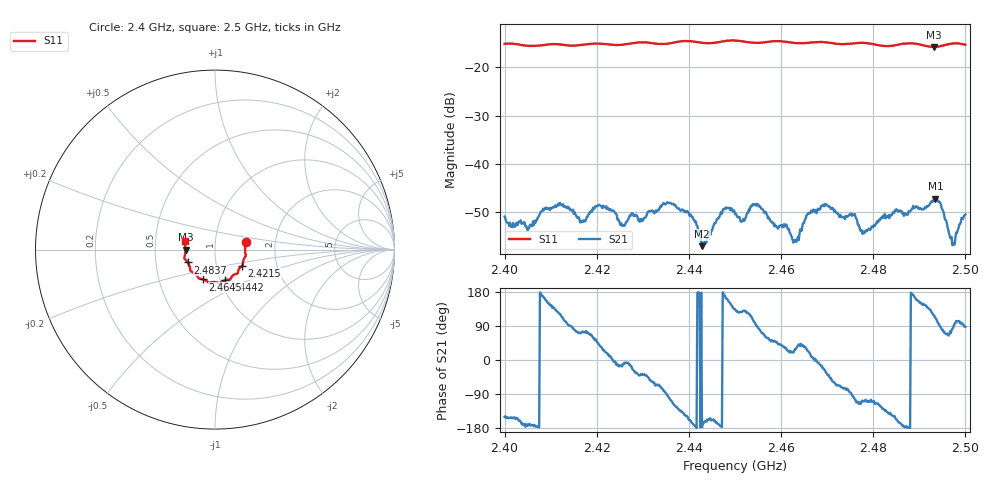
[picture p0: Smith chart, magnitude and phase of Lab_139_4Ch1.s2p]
# Hz S RI R 50
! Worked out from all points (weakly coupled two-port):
!   601 points, 2.4 GHz to 2.5 GHz, reference 50 ohm
!   highest |S21| = -47.27 dB at 2.4935 GHz (marker M1); lowest = -57.1 dB at 2.4428 GHz (marker M2)
!   lowest |S11| = -15.7 dB at 2.4932 GHz (marker M3), VSWR 1.39, Z = 36 - j0.0458 ohm
!   |S11| at or under -10 dB: start of sweep to end of sweep
!   S12 and S22 are empty: the file has one direction only
!   S11 on the Smith chart (normalised r, x): 2.4 GHz: 1.41, +0.12; 2.4215 GHz: 1.33, -0.25; 2.4442 GHz: 1.05, -0.37; 2.4645 GHz: 0.83, -0.29; 2.4837 GHz: 0.73, -0.11; 2.5 GHz: 0.71, +0.07
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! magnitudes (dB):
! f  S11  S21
! 2.4 GHz  -15.1  -51.0
! 2.4053 GHz  -15.5  -53.4
! 2.4122 GHz  -15.2  -48.4
! 2.4167 GHz  -15.3  -51.9
! 2.4215 GHz  -15.1  -49.1
! 2.4257 GHz  -15.3  -52.9
! 2.4333 GHz  -15.1  -49.6
! 2.4398 GHz  -14.5  -50.1
! 2.4428 GHz  -14.9  -57.1
! 2.4442 GHz  -15.0  -55.1
! 2.45 GHz  -14.4  -50.4
! 2.4548 GHz  -14.9  -48.7
! 2.463 GHz  -14.9  -55.8
! 2.4645 GHz  -15.0  -53.9
! 2.4667 GHz  -14.8  -50.1
! 2.4778 GHz  -14.9  -54.1
! 2.4833 GHz  -15.6  -50.7
! 2.4837 GHz  -15.5  -50.6
! 2.4932 GHz  -15.7  -47.4
! 2.4935 GHz  -15.7  -47.3
! 2.4972 GHz  -15.0  -56.9
! 2.5 GHz  -15.3  -50.6
